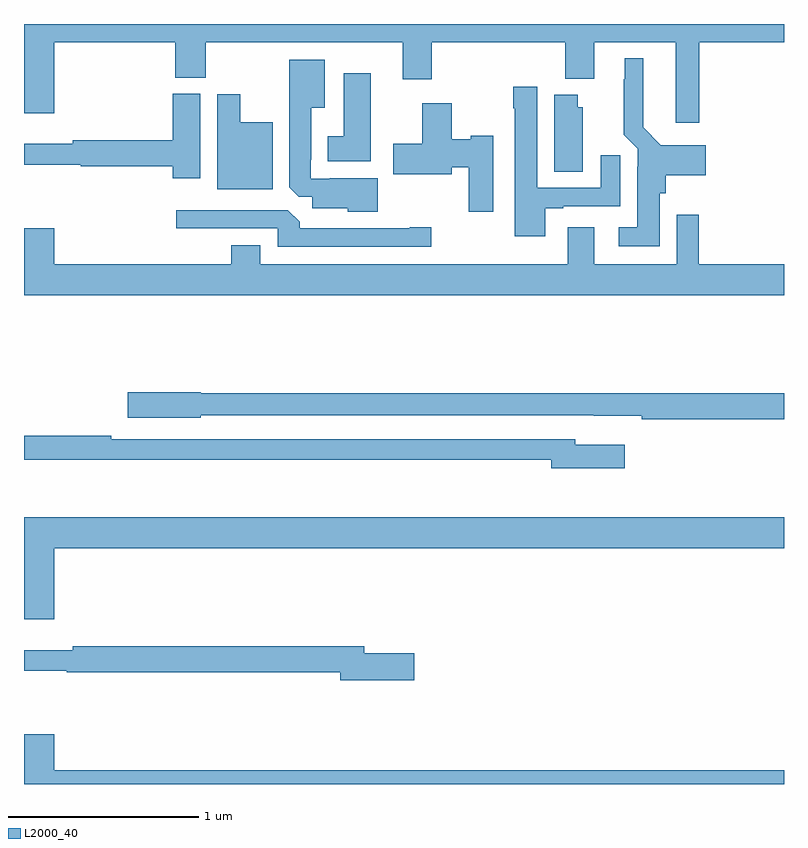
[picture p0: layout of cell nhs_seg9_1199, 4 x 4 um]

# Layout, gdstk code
import gdstk
lib = gdstk.Library(unit=1e-6, precision=1e-09)
def P(c, l, *ps):  # polygons
    for p in ps: c.add(gdstk.Polygon(p, *l))
L2000_40 = (2000, 40)

nhs_seg9_1199 = lib.new_cell('nhs_seg9_1199')
P(nhs_seg9_1199, L2000_40, [(180.554,1212.404),(181,1212.404),(181,1212.5),(177,1212.5),(177,1212.03),(177.16,1212.03),(177.16,1212.404),(177.797,1212.404),(177.797,1212.217),(177.957,1212.217),(177.957,1212.404),(178.994,1212.404),(178.994,1212.21),(179.147,1212.21),(179.147,1212.404),(179.849,1212.404),(179.849,1212.212),(180.001,1212.212),(180.001,1212.404),(180.431,1212.404),(180.431,1211.979),(180.554,1211.979)],
  [(180.346,1211.61),(180.377,1211.61),(180.377,1211.705),(180.589,1211.705),(180.589,1211.863),(180.351,1211.863),(180.259,1211.956),(180.259,1212.319),(180.161,1212.319),(180.161,1212.209),(180.157,1212.209),(180.157,1211.918),(180.231,1211.844),(180.231,1211.75),(180.227,1211.75),(180.227,1211.431),(180.129,1211.431),(180.129,1211.33),(180.346,1211.33)],
  [(178.861,1211.689),(178.609,1211.689),(178.609,1211.685),(178.509,1211.685),(178.509,1211.785),(178.513,1211.785),(178.513,1212.059),(178.582,1212.059),(178.582,1212.313),(178.397,1212.313),(178.397,1211.641),(178.446,1211.592),(178.517,1211.592),(178.517,1211.531),(178.704,1211.531),(178.704,1211.513),(178.861,1211.513)],
  [(178.825,1212.241),(178.682,1212.241),(178.682,1211.908),(178.598,1211.908),(178.598,1211.777),(178.825,1211.777)],
  [(179.743,1211.529),(179.839,1211.529),(179.839,1211.541),(180.139,1211.541),(180.139,1211.809),(180.035,1211.809),(180.035,1211.637),(179.701,1211.637),(179.701,1212.169),(179.575,1212.169),(179.575,1212.056),(179.582,1212.056),(179.582,1211.382),(179.743,1211.382)],
  [(177.928,1212.132),(177.782,1212.132),(177.782,1211.888),(177.256,1211.888),(177.256,1211.869),(177,1211.869),(177,1211.76),(177.298,1211.76),(177.298,1211.752),(177.782,1211.752),(177.782,1211.688),(177.928,1211.688)],
  [(178.309,1211.983),(178.138,1211.983),(178.138,1212.13),(178.016,1212.13),(178.016,1211.63),(178.309,1211.63)],
  [(179.941,1212.063),(179.914,1212.063),(179.914,1212.127),(179.792,1212.127),(179.792,1211.722),(179.941,1211.722)],
  [(179.47,1211.912),(179.352,1211.912),(179.352,1211.894),(179.251,1211.894),(179.251,1212.082),(179.096,1212.082),(179.096,1211.871),(178.944,1211.871),(178.944,1211.708),(179.251,1211.708),(179.251,1211.747),(179.341,1211.747),(179.341,1211.511),(179.47,1211.511)],
  [(179.143,1211.429),(179.03,1211.429),(179.03,1211.424),(178.451,1211.424),(178.451,1211.458),(178.389,1211.52),(177.801,1211.52),(177.801,1211.424),(178.335,1211.424),(178.335,1211.328),(179.143,1211.328)],
  [(181,1211.236),(180.551,1211.236),(180.551,1211.497),(180.435,1211.497),(180.435,1211.236),(180.001,1211.236),(180.001,1211.431),(179.861,1211.431),(179.861,1211.236),(178.243,1211.236),(178.243,1211.335),(178.091,1211.335),(178.091,1211.236),(177.16,1211.236),(177.16,1211.425),(177,1211.425),(177,1211.072),(181,1211.072)],
  [(181,1210.556),(177.93,1210.556),(177.93,1210.562),(177.546,1210.562),(177.546,1210.427),(177.93,1210.427),(177.93,1210.44),(179.998,1210.44),(179.998,1210.439),(180.25,1210.439),(180.25,1210.42),(181,1210.42)],
  [(180.163,1210.285),(179.902,1210.285),(179.902,1210.314),(177.458,1210.314),(177.458,1210.334),(177,1210.334),(177,1210.206),(179.774,1210.206),(179.774,1210.163),(180.163,1210.163)],
  [(177.16,1209.74),(181,1209.74),(181,1209.904),(177,1209.904),(177,1209.366),(177.16,1209.366)],
  [(179.053,1209.188),(178.792,1209.188),(178.792,1209.224),(177.256,1209.224),(177.256,1209.205),(177,1209.205),(177,1209.096),(177.224,1209.096),(177.224,1209.088),(178.664,1209.088),(178.664,1209.046),(179.053,1209.046)],
  [(181,1208.572),(177.16,1208.572),(177.16,1208.761),(177,1208.761),(177,1208.5),(181,1208.5)])

lib.write_gds('nhs_seg9_1199.gds')
